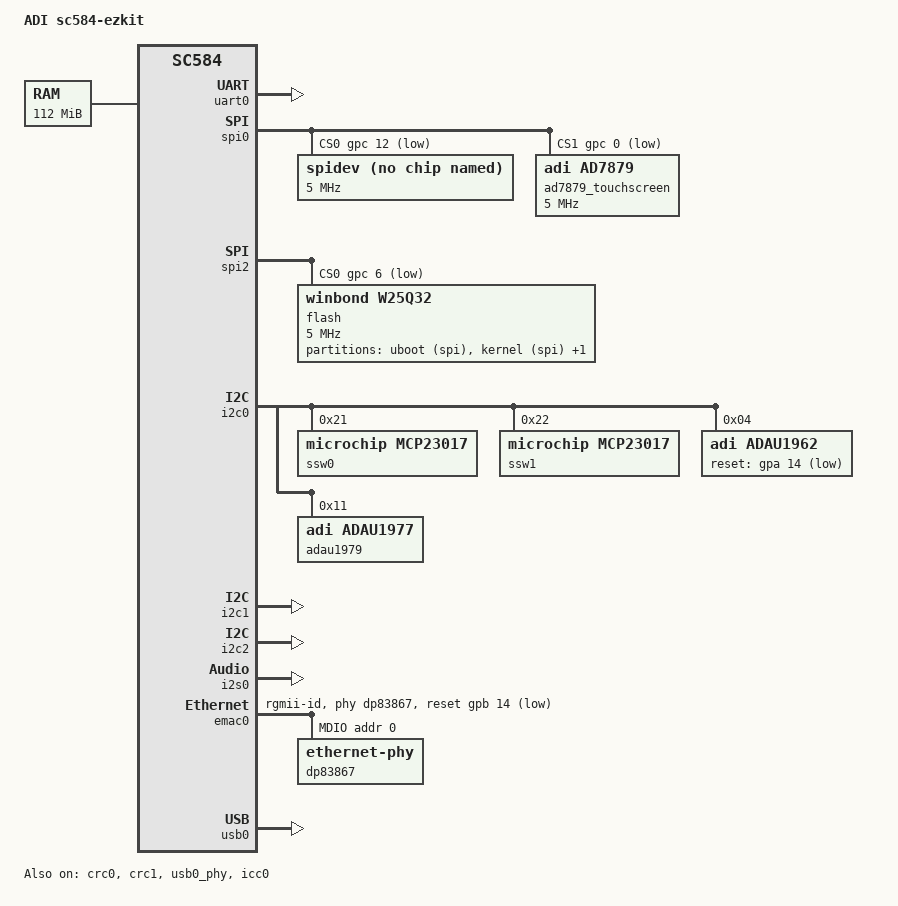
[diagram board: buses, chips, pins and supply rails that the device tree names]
/*
 * Device tree for ADI sc584-ezkit board
 *
 * Copyright 2014 - 2018 Analog Devices Inc.
 *
 * Licensed under the GPL-2 or later.
 *
 */

/dts-v1/;

#include <dt-bindings/input/input.h>
#include <dt-bindings/gpio/gpio.h>
#include <dt-bindings/net/ti-dp83867.h>
#include <dt-bindings/pinctrl/adi-adsp.h>
#include "sc58x.dtsi"

/ {
	model = "ADI sc584-ezkit";
	compatible = "adi,sc584-ezkit", "adi,sc58x";

	aliases {
	};

	memory@89000000 {
		device_type = "memory";
		reg = <0x89000000 0x7000000>;
	};

	scb {
		button0: button@0 {
			compatible = "adi,button-led";
			en-pins = <&ssw1 2 GPIO_ACTIVE_LOW>,	/* PUSHBUTTON1_EN */
			          <&ssw1 3 GPIO_ACTIVE_LOW>;	/* LEDS_EN */
			button_gpio = <15>;
			led_gpio = <65>;
		};
		button1: button@1 {
			compatible = "adi,button-led";
			en-pins = <&ssw1 1 GPIO_ACTIVE_LOW>,	/* PUSHBUTTON2_EN */
			          <&ssw1 3 GPIO_ACTIVE_LOW>;	/* LEDS_EN */
			button_gpio = <16>;
			led_gpio = <66>;
		};
		button2: button@2 {
			compatible = "adi,button-led";
			en-pins = <&ssw1 0 GPIO_ACTIVE_LOW>,	/* PUSHBUTTON3_EN */
			          <&ssw1 3 GPIO_ACTIVE_LOW>;	/* LEDS_EN */
			button_gpio = <47>;
			led_gpio = <67>;
		};

		core1-rproc@0x3108b000 {
			compatible = "adi,remoteproc";
			reg = <0x3108b000 0x70>;
			core-id = <1>;
			core-irq = <76>;
			firmware-name = "adi_adsp_core1_fw.ldr";
		};

		core2-rproc@0x3108b000 {
			compatible = "adi,remoteproc";
			reg = <0x3108b000 0x70>;
			core-id = <2>;
			core-irq = <77>;
			firmware-name = "adi_adsp_core2_fw.ldr";
		};

		sound {
			compatible = "sc5xx,asoc-card";
			adi,cpu-dai = <&i2s0>;
			adi,codec = <&adau1962>, <&adau1979>;
		};

/*
		lcd@0 {
			compatible = "sc58x,lcd";
			reg = <0x31040000 0xFF>;
			interrupts = <GIC_SPI 83 IRQ_TYPE_LEVEL_HIGH>;
			dma-channel = <28>;
			cs-gpio = <39>;
			spu_securep_id = <95>;
			pinctrl-names = "default","ppi_16b","ppi_24b";
			pinctrl-0 = <&ppi0_8b>;
			pinctrl-1 = <&ppi0_16b>;
			pinctrl-2 = <&ppi0_24b>;
		};
*/
	};
};

&uart0 {
	pinctrl-names = "default";
	pinctrl-0 = <&uart0_default>;
	status = "okay";
};

&spi0 {
	pinctrl-names = "default";
	pinctrl-0 = <&spi0_default>;
	status = "okay";

	cs-gpios = <&gpc 12 GPIO_ACTIVE_LOW>,
				<&gpc 0 GPIO_ACTIVE_LOW>;

	spidev {
		#address-cells = <1>;
		#size-cells = <1>;
		compatible = "rohm,dh2228fv";
		spi-max-frequency = <5000000>;
		reg = <0>;
	};

	ad7879_touchscreen {
		#address-cells = <1>;
		#size-cells = <1>;
		compatible = "adi,ad7879";
		spi-max-frequency = <5000000>;
		reg = <1>;
		gpio = <49>;
		gpio-controller;
		spi-cpha;
		spi-cpol;
		touchscreen-max-pressure = <10000>;
		adi,resistance-plate-x = <620>;
		adi,first-conversion-delay = /bits/ 8 <3>;
		adi,acquisition-time = /bits/ 8 <1>;
		adi,median-filter-size = /bits/ 8 <2>;
		adi,averaging = /bits/ 8 <1>;
		adi,conversion-interval = /bits/ 8 <255>;
	};
};

&spi2 {
	pinctrl-names = "default";
	pinctrl-0 = <&spi2_quad>;
	status = "okay";

	cs-gpios = <&gpc 6 GPIO_ACTIVE_LOW>;

	flash: w25q32@0 {
		#address-cells = <1>;
		#size-cells = <1>;
		compatible = "winbond,w25q32", "jedec,spi-nor";
		reg = <0>;
		spi-cpol;
		spi-cpha;
		spi-max-frequency = <5000000>;
		spi-rx-bus-width = <4>;
		adi,enable-dma;

		partition@0 {
			label = "uboot (spi)";
			reg = <0x0 0x80000>;
		};
		partition@1 {
			label = "kernel (spi)";
			reg = <0x80000 0x580000>;
		};
		partition@2 {
			label = "root file system (spi)";
			reg = <0x600000 0xa00000>;
		};
	};
};

&i2c0 {
	status = "okay";
	ssw0: gpio@0x21 {
		compatible = "microchip,mcp23017";
		gpio-controller;
		#gpio-cells = <2>;
		reg = <0x21>;

		eeprom {
			gpio-hog;
			gpios = <0 0x0>;
			output-high;
			line-name = "~eeprom-en";
		};

		uart0-flow-en {
			gpio-hog;
			gpios = <1 0x0>;
			output-high;
			line-name = "~uart0-flow-en";
		};

		uart0-en {
			gpio-hog;
			gpios = <2 0x0>;
			output-low;
			line-name = "~uart0-en";
		};

		eth0 {
			gpio-hog;
			gpios = <3 0x0>;
			output-low;
			line-name = "~eth0-en";
		};

		eth1 {
			gpio-hog;
			gpios = <4 0x0>;
			output-low;
			line-name = "~eth1-en";
		};

		mlb {
			gpio-hog;
			gpios = <5 0x0>;
			output-high;
			line-name = "~mlb-en";
		};

		can0 {
			gpio-hog;
			gpios = <6 0x0>;
			output-high;
			line-name = "~can0-en";
		};

		can1 {
			gpio-hog;
			gpios = <7 0x0>;
			output-high;
			line-name = "~can1-en";
		};

		adau1962 {
			gpio-hog;
			gpios = <8 0x0>;
			output-low;
			line-name = "~adau1962-en";
		};

		adau1979 {
			gpio-hog;
			gpios = <9 0x0>;
			output-low;
			line-name = "~adau1979-en";
		};

		spi2d2-d3 {
			gpio-hog;
			gpios = <12 0x0>;
			output-low;
			line-name = "~spi2d2-d3-en";
		};

		spi2flash-cs {
			gpio-hog;
			gpios = <13 0x0>;
			output-low;
			line-name = "~spi2flash-cs";
		};

		spdif-opt {
			gpio-hog;
			gpios = <14 0x0>;
			output-high;
			line-name = "~spdif-optical-en";
		};

		spdif-dig {
			gpio-hog;
			gpios = <15 0x0>;
			output-high;
			line-name = "~spdif-digital-en";
		};
	};

	ssw1: gpio@0x22 {
		compatible = "microchip,mcp23017";
		gpio-controller;
		#gpio-cells = <2>;
		reg = <0x22>;

		pushbutton3 {
			gpio-hog;
			gpios = <0 0x0>;
			output-low;
			line-name = "~pushbutton3-en";
		};

		pushbutton2 {
			gpio-hog;
			gpios = <1 0x0>;
			output-low;
			line-name = "~pushbutton2-en";
		};

		pushbutton1 {
			gpio-hog;
			gpios = <2 0x0>;
			output-low;
			line-name = "~pushbutton1-en";
		};

		leds {
			gpio-hog;
			gpios = <3 0x0>;
			output-low;
			line-name = "~leds-en";
		};

		flg0 {
			gpio-hog;
			gpios = <4 0x0>;
			output-low;
			line-name = "~flg0_loop";
		};

		flg1 {
			gpio-hog;
			gpios = <5 0x0>;
			output-low;
			line-name = "~flg1_loop";
		};

		flg2 {
			gpio-hog;
			gpios = <6 0x0>;
			output-low;
			line-name = "~flg2_loop";
		};

		flg3 {
			gpio-hog;
			gpios = <7 0x0>;
			output-low;
			line-name = "~flg3_loop";
		};

		adau1977 {
			gpio-hog;
			gpios = <8 0x0>;
			output-low;
			line-name = "~adau1977_en";
		};

		adau1977_fault_rst {
			gpio-hog;
			gpios = <9 0x0>;
			output-low;
			line-name = "~adau1977_fault_rst_en";
		};

		thumbwheel {
			gpio-hog;
			gpios = <10 0x0>;
			output-low;
			line-name = "~thumbwheel_oe";
		};


		engine_rpm {
			gpio-hog;
			gpios = <11 0x0>;
			output-low;
			line-name = "~engine_rpm_oe";
		};
	};

	adau1962: adau1962@0x4 {
		compatible = "adi,adau1962";
		reg = <0x4>;
		reset-gpios = <&gpa 14 1>;
	};

	adau1979: adau1979@0x11 {
		compatible = "adi,adau1977";
		reg = <0x11>;
	};
};

&i2c1 {
	status = "okay";
};

&i2c2 {
	status = "okay";
};

&i2s0 {
	reg = <0x31002400 0x80>, <0x31002480 0x80>;
	interrupts = <GIC_SPI 61 IRQ_TYPE_LEVEL_HIGH>,
			<GIC_SPI 63 IRQ_TYPE_LEVEL_HIGH>;
	dma-channel = <10>, <11>;
	status = "okay";
};

&crc0 {
	status = "okay";
};

&crc1 {
	status = "okay";
};

/*
&can0 {
	enable-pin = <&ssw0 6 GPIO_ACTIVE_LOW>;	//CAN0_EN
	pinctrl-names = "default";
	pinctrl-0 = <&can0_default>;
	phy-name = "tja1055";
	phy-gpios = <&gpb 8 0>, //en PB8
		    <&gpb 2 0x1>; //stb PB2, GPIO_ACTIVE_LOW
	status = "okay";
};

&can1 {
	enable-pin = <&ssw0 7 GPIO_ACTIVE_LOW>;	//CAN1_EN
	pinctrl-names = "default";
	pinctrl-0 = <&can1_default>;
	phy-name = "tja1145";
	phy-spibus = /bits/ 16 <0>;
	phy-spiclk = <1000000>;
	phy-spics = /bits/ 16 <44>;	//GPIO_PC12
	status = "okay";
};
*/

&emac0 {
	snps,reset-gpio = <&gpb 14 0>;
	snps,reset-active-low;
	snps,reset-delays-us = <0 200 500>;
	phy-handle = <&dp83867>;
	phy-mode = "rgmii-id";
	pinctrl-names = "default";
	pinctrl-0 = <&eth0_default>;
	status = "okay";
	mdio0 {
		compatible = "snps,dwmac-mdio";
		#address-cells = <1>;
		#size-cells = <0>;
		dp83867: ethernet-phy@0 {
			reg = <0>;
			ti,rx-internal-delay = <DP83867_RGMIIDCTL_2_00_NS>;
			ti,tx-internal-delay = <DP83867_RGMIIDCTL_2_00_NS>;
			ti,fifo-depth = <DP83867_PHYCR_FIFO_DEPTH_8_B_NIB>;
			ti,dp83867-rxctrl-strap-quirk;
		};
	};
};

&usb0_phy {
	status = "okay";
};

&usb0 {
	mode = <3>; /* OTG port */
	status = "okay";
};

&icc0 {
	status = "okay";
};

/*
&gp_counter {
	pinctrl-names = "default";
	pinctrl-0 = <&cnt0_default>;
	enable-pin = <&ssw1 10 GPIO_ACTIVE_LOW>;
	status = "okay";
	rotary_abs_code = <ABS_WHEEL>;		// ABS_WHEEL
	rotary_button_key = <KEY_ENTER>;	// KEY_ENTER
	debounce = /bits/ 16 <10>;			// Debounce Prescale 0-17
	debounce_en = /bits/ 16 <1>;		// Debounce Enable
	cnt_mode = /bits/ 16 <QUAD_ENC>;	// Counter Operating Mode: QUADENC
	boundary_mode = /bits/ 16 <BD_COMP>;// Boundary Register Mod: COMP
	boundary_ranges =  <(-256) 256>;	// Boundary upper/lower ranges
	czm_zero_cnt_en = /bits/ 16 <1>;	// CZM Pin Zeroes Counter Enable
	invert_czm = /bits/ 16 <1>;			// Default value of CZM Pin Polarity
	invert_cud = /bits/ 16 <0>;			// Default value of CUD Pin Polarity
	invert_cdg = /bits/ 16 <0>;			// Default value of CDG Pin Polarity
};
*/

/*
&lp0 {
	pinctrl-names = "default";
	pinctrl-0 = <&lp0_default>;
	status = "okay";
};

&lp1 {
	pinctrl-names = "default";
	pinctrl-0 = <&lp1_default>;
	status = "okay";
};
*/

&sram_mmap {
	status = "okay";
};

&pinctrl0 {
	uart0_default: uart0_default_pins {
		pins {
			pinmux = <ADI_ADSP_PINMUX('C', 13, ADI_ADSP_PINFUNC_ALT0)>,
					 <ADI_ADSP_PINMUX('C', 14, ADI_ADSP_PINFUNC_ALT0)>;
		};
	};
	uart0_hwflow: uart0_hwflow_pins {
		pins {
			pinmux = <ADI_ADSP_PINMUX('C', 13, ADI_ADSP_PINFUNC_ALT0)>,
					 <ADI_ADSP_PINMUX('C', 14, ADI_ADSP_PINFUNC_ALT0)>,
					 <ADI_ADSP_PINMUX('C', 15, ADI_ADSP_PINFUNC_ALT0)>,
					 <ADI_ADSP_PINMUX('D', 0, ADI_ADSP_PINFUNC_ALT0)>;
		};
	};
	spi0_default: spi0_default_pins {
		pins {
			pinmux = <ADI_ADSP_PINMUX('C', 9, ADI_ADSP_PINFUNC_ALT0)>,
			         <ADI_ADSP_PINMUX('C', 10, ADI_ADSP_PINFUNC_ALT0)>,
					 <ADI_ADSP_PINMUX('C', 11, ADI_ADSP_PINFUNC_ALT0)>;
		};
	};
	spi1_default: spi1_default_pins {
		pins {
			pinmux = <ADI_ADSP_PINMUX('E', 13, ADI_ADSP_PINFUNC_ALT0)>,
			         <ADI_ADSP_PINMUX('E', 14, ADI_ADSP_PINFUNC_ALT0)>,
					 <ADI_ADSP_PINMUX('E', 15, ADI_ADSP_PINFUNC_ALT0)>;
		};
	};
	spi2_quad: spi2_quad_pins {
		pins {
			pinmux = <ADI_ADSP_PINMUX('C', 1, ADI_ADSP_PINFUNC_ALT0)>,
			         <ADI_ADSP_PINMUX('C', 2, ADI_ADSP_PINFUNC_ALT0)>,
			         <ADI_ADSP_PINMUX('C', 3, ADI_ADSP_PINFUNC_ALT0)>,
			         <ADI_ADSP_PINMUX('C', 4, ADI_ADSP_PINFUNC_ALT0)>,
			         <ADI_ADSP_PINMUX('C', 5, ADI_ADSP_PINFUNC_ALT0)>;
		};
	};
	eth0_default: eth0_default_pins {
		pins {
			pinmux = <ADI_ADSP_PINMUX('A', 0, ADI_ADSP_PINFUNC_ALT0)>,
			         <ADI_ADSP_PINMUX('A', 1, ADI_ADSP_PINFUNC_ALT0)>,
			         <ADI_ADSP_PINMUX('A', 2, ADI_ADSP_PINFUNC_ALT0)>,
			         <ADI_ADSP_PINMUX('A', 3, ADI_ADSP_PINFUNC_ALT0)>,
			         <ADI_ADSP_PINMUX('A', 4, ADI_ADSP_PINFUNC_ALT0)>,
			         <ADI_ADSP_PINMUX('A', 5, ADI_ADSP_PINFUNC_ALT0)>,
			         <ADI_ADSP_PINMUX('A', 6, ADI_ADSP_PINFUNC_ALT0)>,
			         <ADI_ADSP_PINMUX('A', 7, ADI_ADSP_PINFUNC_ALT0)>,
			         <ADI_ADSP_PINMUX('A', 8, ADI_ADSP_PINFUNC_ALT0)>,
			         <ADI_ADSP_PINMUX('A', 9, ADI_ADSP_PINFUNC_ALT0)>,
			         <ADI_ADSP_PINMUX('A', 10, ADI_ADSP_PINFUNC_ALT0)>,
			         <ADI_ADSP_PINMUX('A', 11, ADI_ADSP_PINFUNC_ALT0)>,
			         <ADI_ADSP_PINMUX('A', 12, ADI_ADSP_PINFUNC_ALT0)>,
			         <ADI_ADSP_PINMUX('A', 13, ADI_ADSP_PINFUNC_ALT0)>;
		};
	};
};
